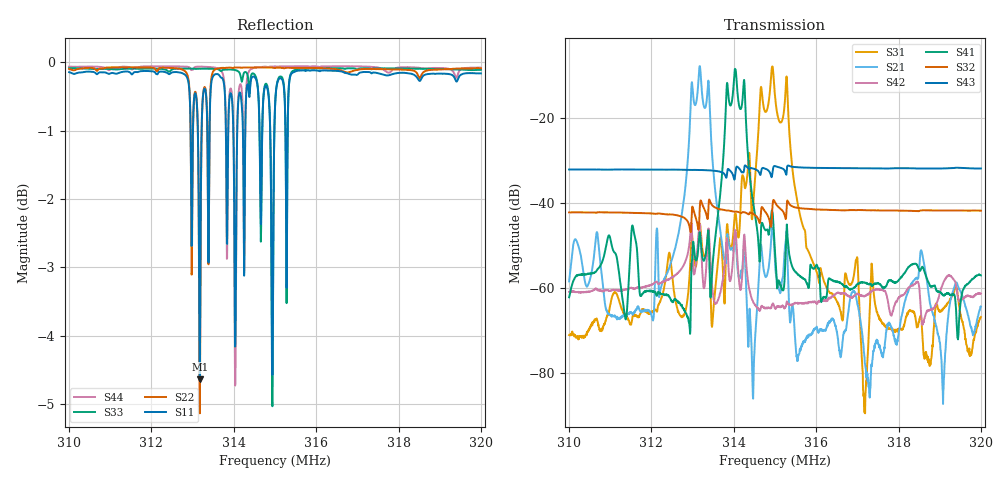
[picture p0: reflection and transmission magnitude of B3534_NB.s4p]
! Matrix data file written by TouchstoneData, EPCOS AG
! FILENAME: "newformat_LZ06B_NB.s4p"
! COMMENT: "(LZ06B_NB.s4p) Epcos AG 31.01.2012 10:36:11"
! INFO: nport=4, nfreq=1601
! DATE: "Tue Jan 31 15:09:57 2012"
! USER: "Wilfried Schott"
! port | pin | signal
!  1  |  1  |  IN
!  2  |  5  |  OUT CH2
!  3  |  6  |  OUT CH1
!  4  |  7  |  OUT CH3
# MHZ S MA R 50
! freq  magS11 angS11  magS12 angS12  magS13 angS13  magS14 angS14  ...
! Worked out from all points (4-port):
!   1601 points, 310 MHz to 320 MHz, reference 50 ohm
!   strongest paths, dB at 310 MHz, 312.5 MHz, 315 MHz, 317.5 MHz, 320 MHz:
!     S43: -32.1, -32.1, -31.3, -31.8, -31.8
!     S32: -42.2, -42.6, -39.7, -41.7, -41.8
!     S41: -62.1, -63.0, -51.7, -58.8, -57.0
!     S42: -60.9, -57.5, -64.8, -60.2, -61.2
!     S21: -58.4, -53.1, -54.2, -73.0, -64.3
!     S31: -71.1, -56.8, -14.7, -66.4, -66.8
!   lowest |S11| = -4.6 dB at 313.18 MHz (marker M1), VSWR 3.83, Z = 70.1 - j83.2 ohm
!   |S11| at or under -10 dB: nowhere
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310  0.9834 -43.8  0.001196 -1.5  0.0002885 41.7  0.0007762 102.6
     0.001201 -1.2  0.9886 -18.2  0.007801 72.2  0.0009016 -161.0
     0.0002802 40.8  0.007806 72.2  0.9901 -18.5  0.02496 71.6
     0.0007813 102.9  0.0009025 -161.1  0.02496 71.7  0.9927 -18.1
312.0125  0.985 -45.2  0.0004659 -109.7  0.0005165 62.2  0.0009179 61.4
          0.0004602 -109.3  0.9909 -19.1  0.007577 71.6  0.00111 -151.5
          0.0005251 63.3  0.007571 71.5  0.9895 -18.8  0.02492 71.4
          0.00093 62.2  0.001109 -151.3  0.02494 71.3  0.9933 -18.4
313.175  0.586 -41.7  0.4125 -36.4  0.005745 -26.9  0.004513 -51.7
         0.4112 -36.3  0.5535 -13.9  0.009175 112.8  0.005563 151.8
         0.005758 -26.1  0.009158 113.3  0.989 -19.3  0.02458 71.0
         0.004562 -51.1  0.0056 152.0  0.02462 71.0  0.9926 -19.4
314.0312  0.6194 -46.3  0.003812 -30.6  0.007511 4.3  0.3822 -24.4
          0.003756 -26.5  0.9911 -16.2  0.007959 72.6  0.004779 161.3
          0.007509 4.8  0.007965 72.5  0.9869 -20.4  0.02119 88.1
          0.3823 -24.4  0.004842 158.3  0.02124 88.1  0.5799 -21.7
314.4688  0.9762 -42.0  4.092e-05 166.5  0.009228 -158.7  0.01025 68.3
          4.997e-05 174.5  0.9912 -16.9  0.00751 72.0  0.0006868 117.7
          0.009213 -158.8  0.007507 72.1  0.9814 -22.0  0.02558 72.1
          0.01027 68.7  0.0006858 118.2  0.02562 72.1  0.9901 -14.2
314.9375  0.5906 -38.0  0.005057 -19.9  0.409 -32.5  0.00786 19.2
          0.005201 -20.2  0.9909 -17.2  0.009104 110.2  0.0006537 165.2
          0.4088 -32.4  0.008971 109.8  0.5601 -14.8  0.02263 87.2
          0.00778 20.3  0.0006439 166.2  0.02263 87.0  0.9927 -16.4
320  0.9814 -42.9  0.0006084 -117.7  0.0004542 39.6  0.00141 59.6
     0.0006083 -117.1  0.9899 -17.9  0.008184 72.2  0.0008674 -172.0
     0.0004573 39.7  0.008173 72.5  0.9872 -18.3  0.02566 71.8
     0.001414 59.5  0.0008668 -172.4  0.02567 71.9  0.9909 -17.8
